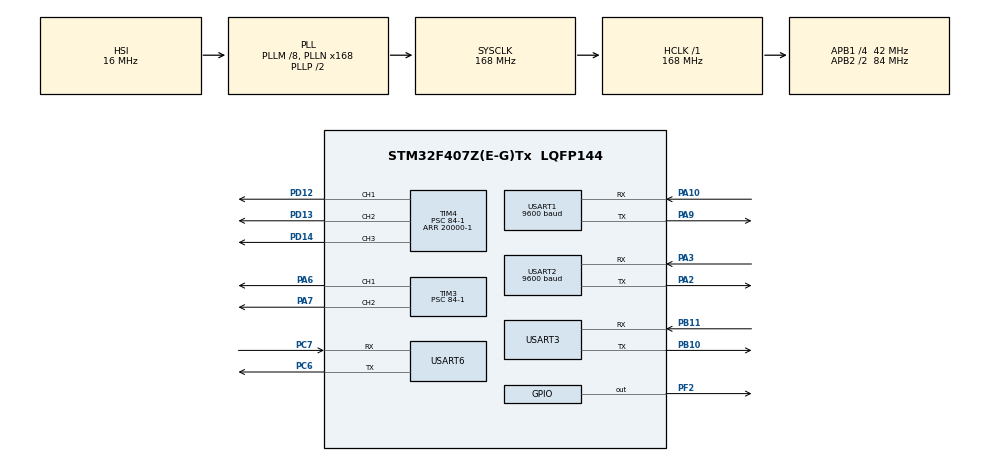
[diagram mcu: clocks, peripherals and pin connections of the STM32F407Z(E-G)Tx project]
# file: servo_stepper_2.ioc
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Dma.Request0=USART2_RX
Dma.Request1=USART2_TX
Dma.Request2=USART3_RX
Dma.Request3=USART3_TX
Dma.USART2_RX.0.Direction=DMA_PERIPH_TO_MEMORY
Dma.USART2_RX.0.FIFOMode=DMA_FIFOMODE_DISABLE
Dma.USART2_RX.0.Instance=DMA1_Stream5
Dma.USART2_RX.0.MemDataAlignment=DMA_MDATAALIGN_BYTE
Dma.USART2_RX.0.MemInc=DMA_MINC_ENABLE
Dma.USART2_RX.0.Mode=DMA_NORMAL
Dma.USART2_RX.0.PeriphDataAlignment=DMA_PDATAALIGN_BYTE
Dma.USART2_RX.0.PeriphInc=DMA_PINC_DISABLE
Dma.USART2_RX.0.Priority=DMA_PRIORITY_MEDIUM
Dma.USART2_TX.1.Direction=DMA_MEMORY_TO_PERIPH
Dma.USART2_TX.1.FIFOMode=DMA_FIFOMODE_DISABLE
Dma.USART2_TX.1.Instance=DMA1_Stream6
Dma.USART2_TX.1.MemDataAlignment=DMA_MDATAALIGN_BYTE
Dma.USART2_TX.1.MemInc=DMA_MINC_ENABLE
Dma.USART2_TX.1.Mode=DMA_NORMAL
Dma.USART2_TX.1.PeriphDataAlignment=DMA_PDATAALIGN_BYTE
Dma.USART2_TX.1.PeriphInc=DMA_PINC_DISABLE
Dma.USART2_TX.1.Priority=DMA_PRIORITY_MEDIUM
Dma.USART3_RX.2.Direction=DMA_PERIPH_TO_MEMORY
Dma.USART3_RX.2.FIFOMode=DMA_FIFOMODE_DISABLE
Dma.USART3_RX.2.Instance=DMA1_Stream1
Dma.USART3_RX.2.MemDataAlignment=DMA_MDATAALIGN_BYTE
Dma.USART3_RX.2.MemInc=DMA_MINC_ENABLE
Dma.USART3_RX.2.Mode=DMA_CIRCULAR
Dma.USART3_RX.2.PeriphDataAlignment=DMA_PDATAALIGN_BYTE
Dma.USART3_RX.2.PeriphInc=DMA_PINC_DISABLE
Dma.USART3_RX.2.Priority=DMA_PRIORITY_HIGH
Dma.USART3_TX.3.Direction=DMA_MEMORY_TO_PERIPH
Dma.USART3_TX.3.FIFOMode=DMA_FIFOMODE_DISABLE
Dma.USART3_TX.3.Instance=DMA1_Stream3
Dma.USART3_TX.3.MemDataAlignment=DMA_MDATAALIGN_BYTE
Dma.USART3_TX.3.MemInc=DMA_MINC_ENABLE
Dma.USART3_TX.3.Mode=DMA_NORMAL
Dma.USART3_TX.3.PeriphDataAlignment=DMA_PDATAALIGN_BYTE
Dma.USART3_TX.3.PeriphInc=DMA_PINC_DISABLE
Dma.USART3_TX.3.Priority=DMA_PRIORITY_HIGH
Mcu.Family=STM32F4
Mcu.Name=STM32F407Z(E-G)Tx
Mcu.Package=LQFP144
NVIC.DMA1_Stream1_IRQn=true\:0\:0\:false\:false\:true\:false\:true\:true
NVIC.DMA1_Stream3_IRQn=true\:0\:0\:false\:false\:true\:false\:true\:true
NVIC.DMA1_Stream5_IRQn=true\:0\:0\:false\:false\:true\:false\:true\:true
NVIC.DMA1_Stream6_IRQn=true\:0\:0\:false\:false\:true\:false\:true\:true
NVIC.PriorityGroup=NVIC_PRIORITYGROUP_4
NVIC.USART1_IRQn=true\:0\:0\:false\:false\:true\:true\:true\:true
NVIC.USART2_IRQn=true\:0\:0\:false\:false\:true\:false\:true\:true
NVIC.USART3_IRQn=true\:0\:0\:false\:false\:true\:true\:true\:true
NVIC.USART6_IRQn=true\:0\:0\:false\:false\:true\:true\:true\:true
PA10.Mode=Asynchronous
PA10.Signal=USART1_RX
PA13.Mode=Serial_Wire
PA13.Signal=SYS_JTMS-SWDIO
PA14.Mode=Serial_Wire
PA14.Signal=SYS_JTCK-SWCLK
PA2.Mode=Asynchronous
PA2.Signal=USART2_TX
PA3.Mode=Asynchronous
PA3.Signal=USART2_RX
PA6.GPIO_ModeDefaultPP=GPIO_MODE_AF_PP
PA6.GPIO_PuPd=GPIO_PULLDOWN
PA6.Signal=S_TIM3_CH1
PA7.GPIO_PuPd=GPIO_PULLDOWN
PA7.Signal=S_TIM3_CH2
PA9.Mode=Asynchronous
PA9.Signal=USART1_TX
PB10.Mode=Asynchronous
PB10.Signal=USART3_TX
PB11.Mode=Asynchronous
PB11.Signal=USART3_RX
PC14-OSC32_IN.Mode=LSE-External-Oscillator
PC14-OSC32_IN.Signal=RCC_OSC32_IN
PC15-OSC32_OUT.Mode=LSE-External-Oscillator
PC15-OSC32_OUT.Signal=RCC_OSC32_OUT
PC6.Mode=Asynchronous
PC6.Signal=USART6_TX
PC7.Mode=Asynchronous
PC7.Signal=USART6_RX
PD12.GPIO_PuPd=GPIO_NOPULL
PD12.Signal=S_TIM4_CH1
PD13.GPIO_PuPd=GPIO_NOPULL
PD13.Signal=S_TIM4_CH2
PD14.GPIO_PuPd=GPIO_NOPULL
PD14.Signal=S_TIM4_CH3
PF2.GPIO_PuPd=GPIO_NOPULL
PF2.Signal=GPIO_Output
PH0-OSC_IN.Mode=HSE-External-Oscillator
PH0-OSC_IN.Signal=RCC_OSC_IN
PH1-OSC_OUT.Mode=HSE-External-Oscillator
PH1-OSC_OUT.Signal=RCC_OSC_OUT
ProjectManager.HeapSize=0x200
ProjectManager.StackSize=0x400
ProjectManager.TargetToolchain=MDK-ARM V5
RCC.48MHZClocksFreq_Value=84000000
RCC.AHBFreq_Value=168000000
RCC.APB1CLKDivider=RCC_HCLK_DIV4
RCC.APB1Freq_Value=42000000
RCC.APB1TimFreq_Value=84000000
RCC.APB2CLKDivider=RCC_HCLK_DIV2
RCC.APB2Freq_Value=84000000
RCC.APB2TimFreq_Value=168000000
RCC.CortexFreq_Value=168000000
RCC.HCLKFreq_Value=168000000
RCC.HSE_VALUE=25000000
RCC.HSI_VALUE=16000000
RCC.PLLM=8
RCC.PLLN=168
RCC.SYSCLKFreq_VALUE=168000000
RCC.SYSCLKSource=RCC_SYSCLKSOURCE_PLLCLK
RCC.VCOOutputFreq_Value=336000000
SH.S_TIM3_CH1.0=TIM3_CH1,PWM Generation1 CH1
SH.S_TIM3_CH2.0=TIM3_CH2,PWM Generation2 CH2
SH.S_TIM4_CH1.0=TIM4_CH1,PWM Generation1 CH1
SH.S_TIM4_CH2.0=TIM4_CH2,PWM Generation2 CH2
SH.S_TIM4_CH3.0=TIM4_CH3,PWM Generation3 CH3
TIM3.Channel-PWM\ Generation1\ CH1=TIM_CHANNEL_1
TIM3.Channel-PWM\ Generation2\ CH2=TIM_CHANNEL_2
TIM3.Period=20000-1
TIM3.Prescaler=84-1
TIM4.Channel-PWM\ Generation1\ CH1=TIM_CHANNEL_1
TIM4.Channel-PWM\ Generation2\ CH2=TIM_CHANNEL_2
TIM4.Channel-PWM\ Generation3\ CH3=TIM_CHANNEL_3
TIM4.Period=20000-1
TIM4.Prescaler=84-1
USART1.BaudRate=9600
USART1.VirtualMode=VM_ASYNC
USART2.BaudRate=9600
USART2.VirtualMode=VM_ASYNC
USART3.VirtualMode=VM_ASYNC
USART6.VirtualMode=VM_ASYNC
VP_TIM3_VS_ClockSourceINT.Mode=Internal
VP_TIM4_VS_ClockSourceINT.Mode=Internal
board=custom

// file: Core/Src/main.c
/* USER CODE BEGIN Header */
/**
  ******************************************************************************
  * @file           : main.c
  * @brief          : Main program body
  ******************************************************************************
  * @attention
  *
  * Copyright (c) 2025 STMicroelectronics.
  * All rights reserved.
  *
  * This software is licensed under terms that can be found in the LICENSE file
  * in the root directory of this software component.
  * If no LICENSE file comes with this software, it is provided AS-IS.
  *
  ******************************************************************************
  */

/* USER CODE END Header */
#include "main.h"
#include "dma.h"
#include "tim.h"
#include "usart.h"
#include "gpio.h"

/* USER CODE BEGIN Includes */

#include "string.h"
#include "stdio.h"
#include "Emm_V5.h"
#include "hipnuc_dec.h"
#include <stdarg.h>

/* USER CODE END Includes */

/* USER CODE BEGIN PD */

#define RXBUFFERSIZE  256
// sw1210sg+
// 600 0 deg
// 1490 90 deg
// 2380 180 deg
uint16_t cnt_l = 2380;
uint16_t cnt_r = 600;
float deg_l = 10;
float deg_r = 10;
// AOA NANGU
// NANGU 2535-455
// 455 0 deg
// 2535 180deg
// 455 -90 deg
// 1500 0 deg
// 2535 90 deg
float aoa_deg_l = 0;
float aoa_deg_r = 0;

uint16_t cnt_b = 1500;
uint16_t cnt_b_bias = 5;

uint8_t cmd[16] = {0};
float reduction_ratio = 3591.0f / 187.0f;
float deg2pulse = 160.0f/18.0f * 3591.0f/187.0f;
float Dpulse = 160.0f/18.0f;
float ml2pulse = 60.0f / 2.0f /100.0f * 360.0f * 160.0f/18.0f * 3591.0f/187.0f;
float mm2pulse = 360.0f/ 4.0f * 160.0f/18.0f;

float deg_id_1 = 0;
float mm_id_2 = 0;
float ml_id_3 = 0;

/* Enable/Disable fixed data array decoding example */
#define ENABLE_FIXED_DATA_EXAMPLE     0
/* Enable/Disable DMA for USART reception */
#define ENABLE_USART_DMA              0

#define UART_RX_BUF_SIZE        (1024)
#define LOG_STRING_SIZE         (1024)
/* IMU stream read/control struct */
static hipnuc_raw_t hipnuc_raw = {0};
/* 0: no new data arrived, 1: new data arrived */
uint8_t new_imu_data_flag = 0;
/* The char buffer used to show result */
static char log_buf[LOG_STRING_SIZE];
uint8_t uart_rx_buf[UART_RX_BUF_SIZE];
uint16_t uart_rx_index = 0;

uint8_t message_get = 0;
uint8_t parse_ctrl_get = 0;
/* USER CODE END PD */

/* USER CODE BEGIN PV */
uint8_t buffer[1];
char RxBuffer[RXBUFFERSIZE];

float pos = 0.0f, Motor_Cur_Pos = 0.0f, Motor1_Cur_Pos = 0.0f, Motor2_Cur_Pos = 0.0f, Motor3_Cur_Pos = 0.0f;

/* USER CODE END PV */

void SystemClock_Config(void);
/* USER CODE BEGIN PFP */

uint16_t deg2PWM_l(float deg_l)
{
	float deg0 = 180 + deg_l - 360/25;
	return (uint16_t)((deg0)/180.0*(2450-450)+470);
}

uint16_t deg2PWM_r(float deg_r)
{
	// 25T
	// 360/25
	return (uint16_t)((deg_r + 360/25 )/180.0*(2450-450)+450);
}

uint16_t deg2PWM_aoa_l(float aoa_deg_l)
{

	return (uint16_t)((aoa_deg_l)/170.0*(-2550+500) + 2550-960);
}

uint16_t deg2PWM_aoa_r(float aoa_deg_r)
{
	return (uint16_t)((aoa_deg_r)/170.0*(2500-550)+650+700);
}

void uart2_send_str(const char *s) {
	HAL_UART_Transmit(&huart2, (uint8_t*)s, (uint16_t)strlen(s), 1000);
}

void uart2_send_bytes(const uint8_t *data, uint16_t len) {
	HAL_UART_Transmit(&huart2, (uint8_t*)data, len, 1000);
}

void uart2_printf(const char *fmt, ...) {
	char buf[128];
	va_list ap;
	va_start(ap, fmt);
	int n = vsnprintf(buf, sizeof(buf), fmt, ap);
	va_end(ap);
	if (n > 0) {
		if (n > (int)sizeof(buf)) n = (int)sizeof(buf);
		HAL_UART_Transmit(&huart2, (uint8_t*)buf, (uint16_t)n, 1000);
	}
}

void print_message(){
	// stepper1
	printf("step1");
	Emm_V5_Read_Sys_Params(1,S_CPOS);
	while(rxFrameFlag == false); rxFrameFlag = false;
	HAL_Delay(1000);
	if(rxCmd[0] == 1 && rxCmd[1] == 0x36 && rxCount == 8)
	{
		pos = (uint32_t)(
											((uint32_t)rxCmd[3] << 24)    |
											((uint32_t)rxCmd[4] << 16)    |
											((uint32_t)rxCmd[5] << 8)     |
											((uint32_t)rxCmd[6] << 0)
										);

		Motor1_Cur_Pos = (float)pos * 360.0f / 65536.0f;

		if(rxCmd[2]) { Motor1_Cur_Pos = -Motor1_Cur_Pos; }
	}
	printf("Stepper1, Spin Cur_Pos = %.3f deg \r\n", (Motor1_Cur_Pos*Dpulse/deg2pulse));
	// stepper2
	Emm_V5_Read_Sys_Params(2,S_CPOS);
	while(rxFrameFlag == false); rxFrameFlag = false;
	HAL_Delay(1000);
	if(rxCmd[0] == 2 && rxCmd[1] == 0x36 && rxCount == 8)
	{
		pos = (uint32_t)(
											((uint32_t)rxCmd[3] << 24)    |
											((uint32_t)rxCmd[4] << 16)    |
											((uint32_t)rxCmd[5] << 8)     |
											((uint32_t)rxCmd[6] << 0)
										);

		Motor2_Cur_Pos = (float)pos * 360.0f / 65536.0f;

		if(rxCmd[2]) { Motor2_Cur_Pos = -Motor2_Cur_Pos; }
	}
	printf("Stepper2, Trans Cur_Pos = %.3f mm\r\n", (Motor2_Cur_Pos*Dpulse/mm2pulse));
	// stepper3
	Emm_V5_Read_Sys_Params(3,S_CPOS);
	while(rxFrameFlag == false); rxFrameFlag = false;
	HAL_Delay(1000);
	if(rxCmd[0] == 3 && rxCmd[1] == 0x36 && rxCount == 8)
	{
		pos = (uint32_t)(
											((uint32_t)rxCmd[3] << 24)    |
											((uint32_t)rxCmd[4] << 16)    |
											((uint32_t)rxCmd[5] << 8)     |
											((uint32_t)rxCmd[6] << 0)
										);

		Motor3_Cur_Pos = (float)pos * 360.0f / 65536.0f;

		if(rxCmd[2]) { Motor3_Cur_Pos = -Motor3_Cur_Pos; }
	}
	printf("Stepper3, water Cur_Pos = %.3f ml\r\n", (Motor3_Cur_Pos*Dpulse/ml2pulse));
	uart2_printf("Stepper1, Spin Cur_Pos = %.3f deg. Stepper2, Trans Cur_Pos = %.3f mm. Stepper 3, water Cur_Pos = %.3f ml\r\n", (Motor1_Cur_Pos*Dpulse/deg2pulse), (Motor2_Cur_Pos*Dpulse/mm2pulse), (Motor3_Cur_Pos*Dpulse/ml2pulse));
}
void parse_ctrl(uint8_t buffer[])
{
	if((char)buffer[0] == 'a')
	{
		printf("Order: %c! Left wing open! ", buffer[0]);
		if(deg_l + 5 > 0)
		{
			deg_l = 0;
		}else{
			deg_l = deg_l + 5;
		}
		uart2_printf("STM32: Open left wing! left deg = %.1f\r\n", deg_l);
		printf("The deg_l is %.1f!\r\n", deg_l);
		__HAL_TIM_SetCompare(&htim4,TIM_CHANNEL_1,deg2PWM_l(deg_l)-1);
	}
	if((char)buffer[0] == 'z')
	{
		printf("Order: %c! Left wing close! ", buffer[0]);
		if(deg_l - 5 < -90)
		{
			deg_l = -90;
		}else{
			deg_l = deg_l - 5;
		}
		uart2_printf("STM32: Close left wing! left deg = %.1f\r\n", deg_l);
		printf("The deg_l is %.1f!\n", deg_l);
		__HAL_TIM_SetCompare(&htim4,TIM_CHANNEL_1,deg2PWM_l(deg_l)-1);
	}

	if((char)buffer[0] == 'd')
	{
		printf("Order: %c! Right wing open! ", buffer[0]);
		if(deg_r - 5 < 0)
		{
			deg_r = 0;
		}else{
			deg_r = deg_r - 5;
		}
		uart2_printf("STM32: Open Right wing! Right deg = %.1f\r\n", deg_r);
		printf("The deg_r is %.1f!\n", deg_r);
		__HAL_TIM_SetCompare(&htim4,TIM_CHANNEL_2,deg2PWM_r(deg_r)-1);
	}
	if((char)buffer[0] == 'c')
	{
		printf("Order: %c! right wing close! ", buffer[0]);
		if(deg_r + 5 > 90)
		{
			deg_r = 90;
		}else{
			deg_r = deg_r + 5;
		}
		uart2_printf("STM32: Close Right wing! Right deg = %.1f\r\n", deg_r);
		printf("The deg_r is %.1f!\n", deg_r);
		__HAL_TIM_SetCompare(&htim4,TIM_CHANNEL_2,deg2PWM_r(deg_r)-1);
	}

	if((char)buffer[0] == 's')
	{
		printf("Order: %c! Speed up! ", buffer[0]);
		cnt_b = 1565;
		uart2_printf("STM32: Speed up! speed pwm = %u\r\n", cnt_b);
		printf("The speed is %u! The 0 speed is 1500. \n", cnt_b);
		__HAL_TIM_SetCompare(&htim4,TIM_CHANNEL_3,cnt_b-1);
	}
	if((char)buffer[0] == 'x')
	{
		printf("Order: %c! Slow down! ", buffer[0]);
		cnt_b = 1500;
		uart2_printf("STM32: Speed down! speed pwm = %u\r\n", cnt_b);
		printf("The speed is %u! The 0 speed is 1500. \n", cnt_b);
		__HAL_TIM_SetCompare(&htim4,TIM_CHANNEL_3,cnt_b-1);
	}

	if((char)buffer[0] == 'r') // ready
	{
		printf("Order: %c! Ready!", buffer[0]);
		HAL_GPIO_WritePin(GPIOF,GPIO_PIN_2,GPIO_PIN_SET);

		deg_l = 90;
		__HAL_TIM_SetCompare(&htim4,TIM_CHANNEL_1,deg2PWM_l(deg_l)-1);
		// propeller
		__HAL_TIM_SetCompare(&htim4,TIM_CHANNEL_3,cnt_b-1);
		aoa_deg_l = 0;
		aoa_deg_r = 0;
		__HAL_TIM_SetCompare(&htim3,TIM_CHANNEL_1,deg2PWM_aoa_l(aoa_deg_l)-1);
		__HAL_TIM_SetCompare(&htim3,TIM_CHANNEL_2,deg2PWM_aoa_r(aoa_deg_r)-1);
	}
	if((char)buffer[0] == 'p'){
		printf("step0");
		print_message();
	}

	if((char)buffer[0] == 'j')
	{
		printf("Order: %c! Left row!", buffer[0]);
		deg_id_1 = deg_id_1 + 1;
		if (deg_id_1 < 0){
			if (deg_id_1 < -25){
				deg_id_1 = -25;
			}
			Emm_V5_Pos_Control(1, 0, 80, 0, (uint32_t)( - deg_id_1 * deg2pulse), 1, 0);
			}
		else{
			if (deg_id_1 > 25){
				deg_id_1 = 25;
			}
			Emm_V5_Pos_Control(1, 1, 80, 0, (uint32_t)(deg_id_1 * deg2pulse), 1, 0);
			}
		uart2_printf("STM32: Left row! Now spin = %.1f deg\r\n", deg_id_1);
	}
	if((char)buffer[0] == 'l')
	{
		printf("Order: %c! Right row!", buffer[0]);
		deg_id_1 = deg_id_1 - 1;
		if (deg_id_1 < 0){
			if (deg_id_1 < -25){
				deg_id_1 = -25;
			}
			Emm_V5_Pos_Control(1, 0, 80, 0, (uint32_t)( - deg_id_1 * deg2pulse), 1, 0);
			}
		else{
			if (deg_id_1 > 25){
				deg_id_1 = 25;
			}
			Emm_V5_Pos_Control(1, 1, 80, 0, (uint32_t)(deg_id_1 * deg2pulse), 1, 0);
			}
		uart2_printf("STM32: Right row! Now spin = %.1f deg\r\n", deg_id_1);
	}

	if((char)buffer[0] == 'i') // pitch
	{
		printf("Order: %c! High pitch!", buffer[0]);
		mm_id_2 = mm_id_2 + 5;
		if (mm_id_2 < 0){
			if (mm_id_2 < -55){
				mm_id_2 = -55;
			}
			Emm_V5_Pos_Control(2, 1, 100, 0, (uint32_t)(- mm_id_2 * mm2pulse), 1, 0);
		}
		else{
			if (mm_id_2 > 55){
				mm_id_2 = 55;
			}
			Emm_V5_Pos_Control(2, 0, 100, 0, (uint32_t)( mm_id_2 * mm2pulse), 1, 0);
		}
		uart2_printf("STM32: High pitch! Trans pos = %.1f mm\r\n", mm_id_2);
	}
	if((char)buffer[0] == 'k') // pitch
	{
		printf("Order: %c! Low pitch!", buffer[0]);
		mm_id_2 = mm_id_2 - 5;
		if (mm_id_2 < 0){
			if (mm_id_2 < -55){
				mm_id_2 = -55;
			}
			Emm_V5_Pos_Control(2, 1, 100, 0, (uint32_t)(- mm_id_2 * mm2pulse), 1, 0);
		}
		else{
			if (mm_id_2 > 55){
				mm_id_2 = 55;
			}
			Emm_V5_Pos_Control(2, 0, 100, 0, (uint32_t)( mm_id_2 * mm2pulse), 1, 0);
		}
		uart2_printf("STM32: Low pitch! Trans pos = %.1f mm\r\n", mm_id_2);
	}

	if((char)buffer[0] == 'y')
	{
		printf("Order: %c! drink water!", buffer[0]);
		ml_id_3 = ml_id_3 + 1;
		if (ml_id_3 < 0){
			ml_id_3 = 0;
			Emm_V5_Pos_Control(3, 1, 500, 0, (uint32_t)(ml_id_3 * ml2pulse), 1, 0);
		}
		else{
			if (ml_id_3 > 100){
				ml_id_3 = 100;
			}
		Emm_V5_Pos_Control(3, 1, 500, 0, (uint32_t)( ml_id_3 * ml2pulse), 1, 0);
		}
		uart2_printf("STM32: Drink! water = %.1f\r\n", ml_id_3);
	}

	if((char)buffer[0] == 'h')
	{
		printf("Order: %c! drainage!", buffer[0]);
		ml_id_3 = ml_id_3 - 1;
		if (ml_id_3 < 0){
			ml_id_3 = 0;
			Emm_V5_Pos_Control(3, 1, 500, 0, (uint32_t)(ml_id_3 * ml2pulse), 1, 0);
		}
		else{
			if (ml_id_3 > 100){
				ml_id_3 = 100;
			}
		Emm_V5_Pos_Control(3, 1, 500, 0, (uint32_t)( ml_id_3 * ml2pulse), 1, 0);
		}
		uart2_printf("STM32: Drainage! water = %.1f\r\n", ml_id_3);
	}

// AOA
	if((char)buffer[0] == 'f')
	{
		printf("Order: %c! Left wing bigger AOA! ", buffer[0]);
		if(aoa_deg_l + 5 > 90)
		{
			aoa_deg_l = 90;
		}else{
			aoa_deg_l = aoa_deg_l + 5;
		}
		printf("The aoa_deg_l is %.1f!\n", aoa_deg_l);
		__HAL_TIM_SetCompare(&htim3,TIM_CHANNEL_1,deg2PWM_aoa_l(aoa_deg_l)-1);
		uart2_printf("STM32: Bigger left AOA! aoa_deg_l = %.1f\r\n", aoa_deg_l);
	}
	if((char)buffer[0] == 'v')
	{
		printf("Order: %c! Left wing smaller AOA! ", buffer[0]);
		if(aoa_deg_l - 5 < -80)
		{
			aoa_deg_l = -80;
		}else{
			aoa_deg_l = aoa_deg_l - 5;
		}
		printf("The aoa_deg_l is %.1f!\n", aoa_deg_l);
		__HAL_TIM_SetCompare(&htim3,TIM_CHANNEL_1,deg2PWM_aoa_l(aoa_deg_l)-1);
		uart2_printf("STM32: Smaller left AOA! aoa_deg_l = %.1f\r\n", aoa_deg_l);
	}

	if((char)buffer[0] == 'g')
	{
		printf("Order: %c! Right wing bigger AOA! ", buffer[0]);
		if(aoa_deg_r + 5 > 90)
		{
			aoa_deg_r = 90;
		}else{
			aoa_deg_r = aoa_deg_r + 5;
		}
		printf("The aoa_deg_r is %.1f!\n", aoa_deg_r);
		__HAL_TIM_SetCompare(&htim3,TIM_CHANNEL_2,deg2PWM_aoa_r(aoa_deg_r)-1);
		uart2_printf("STM32: Bigger Right AOA! aoa_deg_r = %.1f\r\n", aoa_deg_r);
	}
	if((char)buffer[0] == 'b')
	{
		printf("Order: %c! right wing smaller AOA! ", buffer[0]);
		if(aoa_deg_r - 5 < -80)
		{
			aoa_deg_r = -80;
		}else{
			aoa_deg_r = aoa_deg_r - 5;
		}
		printf("The aoa_deg_r is %.1f!\n", aoa_deg_r);
		__HAL_TIM_SetCompare(&htim3,TIM_CHANNEL_2,deg2PWM_aoa_r(aoa_deg_r)-1);
		uart2_printf("STM32: Smaller Right AOA! aoa_deg_r = %.1f\r\n", aoa_deg_r);
	}

}

int fputc(int ch, FILE *f)
{
  HAL_UART_Transmit(&huart1, (uint8_t *)&ch, 1, 0xffff);
  return ch;
}

int fgetc(FILE *f)
{
  uint8_t ch = 0;
  HAL_UART_Receive(&huart1, (uint8_t *)&ch, 1, 0xffff);
  return ch;
}

static void process_data(void);

/* USER CODE END PFP */

int main(void)
{

  /* Reset of all peripherals, Initializes the Flash interface and the Systick. */
  HAL_Init();

  /* USER CODE BEGIN Init */

	/* Initialize instance */
	memset(&hipnuc_raw, 0, sizeof(hipnuc_raw_t));
	new_imu_data_flag = 0;
	/* Use macro to control whether to show the fixed data array decoding example */
	#if ENABLE_FIXED_DATA_EXAMPLE
	#include "example_data.h"
	process_example_data();
	#endif

  /* USER CODE END Init */

  /* Configure the system clock */
  SystemClock_Config();

  /* Initialize all configured peripherals */
  MX_GPIO_Init();
  MX_DMA_Init();
  MX_TIM4_Init();
  MX_USART2_UART_Init();
  MX_USART1_UART_Init();
  MX_USART3_UART_Init();
  MX_USART6_UART_Init();
  MX_TIM3_Init();
  /* USER CODE BEGIN 2 */
	HAL_Delay(1000);
	HAL_TIM_PWM_Start(&htim4,TIM_CHANNEL_1);
	HAL_TIM_PWM_Start(&htim4,TIM_CHANNEL_2);
	HAL_TIM_PWM_Start(&htim4,TIM_CHANNEL_3);
	// AOA
	HAL_TIM_PWM_Start(&htim3,TIM_CHANNEL_1);
	HAL_TIM_PWM_Start(&htim3,TIM_CHANNEL_2);

	// DMA
	HAL_UART_Receive_DMA(&huart2,buffer,1);
	__HAL_UART_ENABLE_IT(&huart2,UART_IT_IDLE);
	__HAL_UART_ENABLE_IT(&huart3, UART_IT_IDLE);
	HAL_UART_Receive_DMA(&huart3, (uint8_t *)rxCmd, CMD_LEN);

	__HAL_UART_ENABLE_IT(&huart6, UART_IT_RXNE);
	__HAL_UART_ENABLE_IT(&huart6, UART_IT_IDLE);

	printf("Nihao");

  /* USER CODE END 2 */

  /* Infinite loop */
  /* USER CODE BEGIN WHILE */

	cnt_b = 1500;
	__HAL_TIM_SetCompare(&htim4,TIM_CHANNEL_3,cnt_b-1);
	HAL_Delay(5000);
	HAL_GPIO_WritePin(GPIOF,GPIO_PIN_2,GPIO_PIN_SET);
	HAL_Delay(1000);
	deg_l = 0;
	deg_r = 0;
	__HAL_TIM_SetCompare(&htim4,TIM_CHANNEL_1,deg2PWM_l(deg_l));
	__HAL_TIM_SetCompare(&htim4,TIM_CHANNEL_2,deg2PWM_r(deg_r));
	aoa_deg_l = 0;
	aoa_deg_r = 0;
	__HAL_TIM_SetCompare(&htim3,TIM_CHANNEL_1,deg2PWM_aoa_l(aoa_deg_l)-1);
	__HAL_TIM_SetCompare(&htim3,TIM_CHANNEL_2,deg2PWM_aoa_r(aoa_deg_r)-1);
	HAL_Delay(500);
  printf("Begin! \r\n");
	while (1)
  {
		if(parse_ctrl_get){
			parse_ctrl(buffer);
			parse_ctrl_get = 0;
		}
		if(new_imu_data_flag){
			process_data();
		}

    /* USER CODE END WHILE */

  }
}

void SystemClock_Config(void)
{
  RCC_OscInitTypeDef RCC_OscInitStruct = {0};
  RCC_ClkInitTypeDef RCC_ClkInitStruct = {0};

  /** Configure the main internal regulator output voltage
  */
  __HAL_RCC_PWR_CLK_ENABLE();
  __HAL_PWR_VOLTAGESCALING_CONFIG(PWR_REGULATOR_VOLTAGE_SCALE1);

  /** Initializes the RCC Oscillators according to the specified parameters
  * in the RCC_OscInitTypeDef structure.
  */
  RCC_OscInitStruct.OscillatorType = RCC_OSCILLATORTYPE_HSI;
  RCC_OscInitStruct.HSIState = RCC_HSI_ON;
  RCC_OscInitStruct.HSICalibrationValue = RCC_HSICALIBRATION_DEFAULT;
  RCC_OscInitStruct.PLL.PLLState = RCC_PLL_ON;
  RCC_OscInitStruct.PLL.PLLSource = RCC_PLLSOURCE_HSI;
  RCC_OscInitStruct.PLL.PLLM = 8;
  RCC_OscInitStruct.PLL.PLLN = 168;
  RCC_OscInitStruct.PLL.PLLP = RCC_PLLP_DIV2;
  RCC_OscInitStruct.PLL.PLLQ = 4;
  if (HAL_RCC_OscConfig(&RCC_OscInitStruct) != HAL_OK)
  {
    Error_Handler();
  }

  /** Initializes the CPU, AHB and APB buses clocks
  */
  RCC_ClkInitStruct.ClockType = RCC_CLOCKTYPE_HCLK|RCC_CLOCKTYPE_SYSCLK
                              |RCC_CLOCKTYPE_PCLK1|RCC_CLOCKTYPE_PCLK2;
  RCC_ClkInitStruct.SYSCLKSource = RCC_SYSCLKSOURCE_PLLCLK;
  RCC_ClkInitStruct.AHBCLKDivider = RCC_SYSCLK_DIV1;
  RCC_ClkInitStruct.APB1CLKDivider = RCC_HCLK_DIV4;
  RCC_ClkInitStruct.APB2CLKDivider = RCC_HCLK_DIV2;

  if (HAL_RCC_ClockConfig(&RCC_ClkInitStruct, FLASH_LATENCY_5) != HAL_OK)
  {
    Error_Handler();
  }
}

/* USER CODE BEGIN 4 */

/**
 * @brief Process IMU data
 *
 * If new data is available, processes the received IMU data by decoding it and printing the results.
 */
static void process_data(void)
{
    if (new_imu_data_flag)
    {
        new_imu_data_flag = 0;

        for (uint16_t i = 0; i < uart_rx_index; i++)
        {
            if (hipnuc_input(&hipnuc_raw, uart_rx_buf[i]))
            {
                /* Convert result to strings */
                hipnuc_dump_packet(&hipnuc_raw, log_buf, sizeof(log_buf));
                /* Display result */
							printf("roll: %.3f, pitch: %.3f\r\n", hipnuc_raw.hi91.roll, hipnuc_raw.hi91.pitch);

            }
        }

        uart_rx_index = 0; // Reset buffer index after processing
    }
}
/* USER CODE END 4 */

void Error_Handler(void)
{
  __disable_irq();
  while (1)
  {
  }
}
